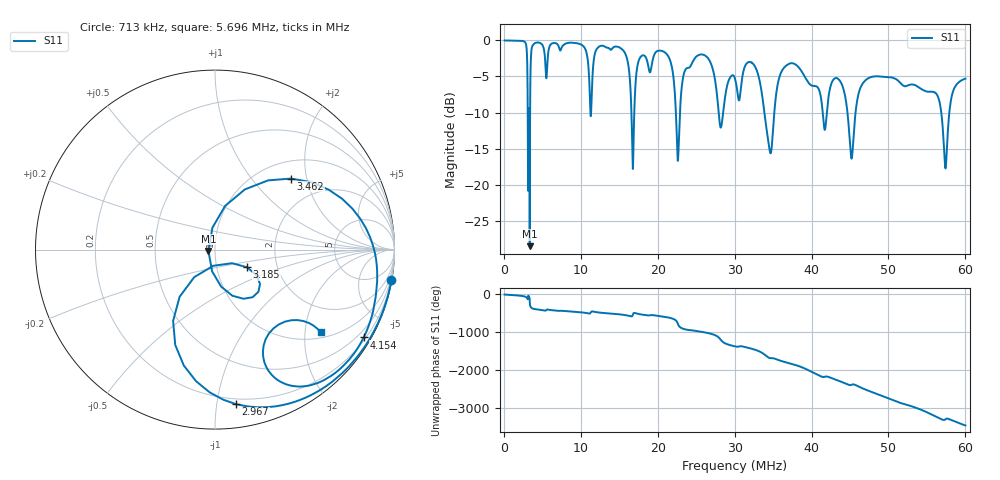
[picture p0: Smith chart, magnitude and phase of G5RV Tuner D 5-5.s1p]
# Hz S RI R 50
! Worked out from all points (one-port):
!   3030 points, 100 kHz to 60 MHz, reference 50 ohm
!   lowest |S11| = -28.5 dB at 3.363 MHz (marker M1), VSWR 1.08, Z = 46.5 - j0.683 ohm
!   |S11| at or under -10 dB: 33.87 MHz to 35.16 MHz (1.289 MHz wide, 3.74 % of centre); 44.67 MHz to 45.72 MHz (1.053 MHz wide, 2.33 % of centre); 56.86 MHz to 57.91 MHz (1.048 MHz wide, 1.83 % of centre)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
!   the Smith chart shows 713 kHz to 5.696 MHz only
!   S11 on the Smith chart (normalised r, x): 713 kHz: 0, -12; 2.967 MHz: 0.16, -1.13; 3.185 MHz: 1.40, -0.29; 3.462 MHz: 1.36, +1.62; 4.154 MHz: 0.27, -3.64; 5.696 MHz: 1.16, -2.42
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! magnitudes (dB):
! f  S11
! 100 kHz  0.0
! 713 kHz  0.0
! 2.967 MHz  -1.2
! 3.185 MHz  -13.8
! 3.363 MHz  -28.5
! 3.462 MHz  -4.7
! 4.154 MHz  -0.3
! 5.696 MHz  -2.5
! 7.595 MHz  -0.8
! 11.29 MHz  -10.5
! 15.09 MHz  -1.0
! 16.77 MHz  -17.8
! 17.7 MHz  -2.4
! 21.26 MHz  -2.0
! 22.56 MHz  -15.9
! 25.06 MHz  -2.2
! 28.2 MHz  -12.1
! 30.06 MHz  -5.3
! 32.65 MHz  -3.6
! 34.63 MHz  -15.6
! 37.55 MHz  -3.2
! 41.71 MHz  -12.4
! 43.66 MHz  -5.6
! 45.03 MHz  -14.8
! 46.97 MHz  -5.6
! 52.52 MHz  -6.2
! 57.41 MHz  -17.8
! 60 MHz  -5.3
